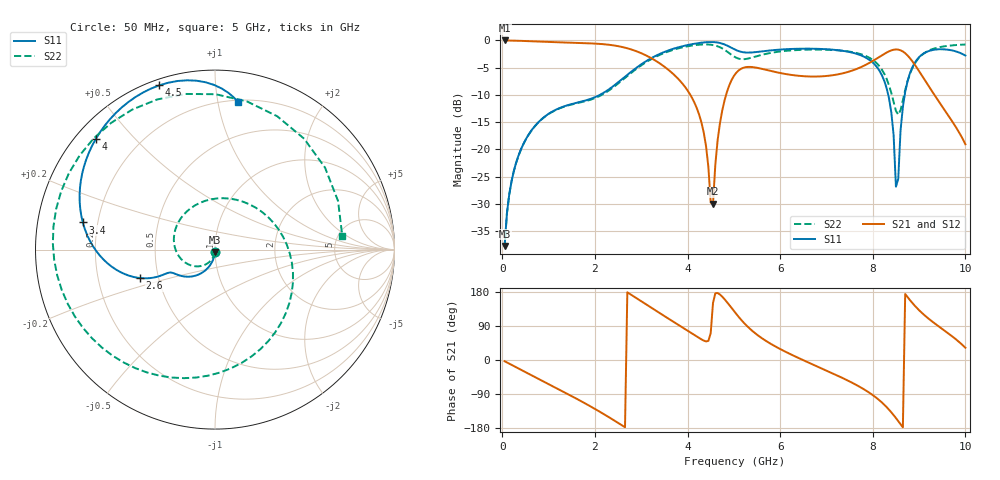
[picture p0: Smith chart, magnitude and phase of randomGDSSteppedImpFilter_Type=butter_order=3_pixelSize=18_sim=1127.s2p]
! freq	dB(S11)	phase(S11)	dB(S12)	phase(S12)
!  dB(S21)	phase(S21)	dB(S22)	phase(S22)
!S-par simulation data
#  GHz  S  DB  R 50
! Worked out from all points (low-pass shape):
!   200 points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, 50 MHz to 10 GHz, reference 50 ohm
!   highest |S21| = -0.01 dB at 50 MHz (marker M1); lowest = -30.0 dB at 4.55 GHz (marker M2)
!   |S21| within 3 dB of the highest: start of sweep to 3.162 GHz; 8.146 GHz to 8.777 GHz (631 MHz wide, 7.46 % of centre)
!   lowest |S11| = -37.7 dB at 50 MHz (marker M3), VSWR 1.03, Z = 49.9 - j1.3 ohm
!   |S11| at or under -10 dB: start of sweep to 2.106 GHz; 8.334 GHz to 8.69 GHz (356.4 MHz wide, 4.19 % of centre)
!   |S22| runs from -37.8 to -0.7 dB; largest |S21 - S12| = 0
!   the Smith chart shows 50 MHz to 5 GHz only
!   S11 on the Smith chart (normalised r, x): 50 MHz: 1.00, -0.03; 2.6 GHz: 0.39, -0.16; 3.4 GHz: 0.14, +0.10; 4 GHz: 0.06, +0.39; 4.5 GHz: 0.03, +0.72; 5 GHz: 0.21, +1.14
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0.05  -37.72 -91.6  -0.01 -3.3  -0.01 -3.3  -37.76 -93.4
0.5  -18.27 -113.8  -0.11 -32.0  -0.11 -32.0  -18.30 -131.0
1.75  -11.13 -152.6  -0.49 -111.9  -0.49 -111.9  -11.25 107.7
2.6  -7.01 -159.2  -1.23 -173.6  -1.23 -173.6  -7.22 -10.0
3.4  -2.48 168.4  -4.22 123.6  -4.22 123.6  -2.65 -103.5
4  -0.85 137.0  -9.18 77.6  -9.18 77.6  -1.08 -165.2
4.35  -0.37 117.6  -16.91 51.2  -16.91 51.2  -0.74 152.4
4.5  -0.30 108.7  -29.74 70.7  -29.74 70.7  -0.79 129.3
4.55  -0.30 105.6  -29.96 150.4  -29.96 150.4  -0.86 120.5
4.75  -0.59 93.3  -12.84 167.1  -12.84 167.1  -1.47 77.8
5  -1.58 81.2  -6.54 129.6  -6.54 129.6  -2.94 6.0
5.05  -1.78 79.7  -5.96 121.9  -5.96 121.9  -3.17 -9.5
5.35  -2.23 73.3  -4.86 82.0  -4.86 82.0  -3.24 -88.7
5.8  -1.83 58.5  -5.61 42.5  -5.61 42.5  -2.29 -153.7
6.7  -1.52 19.3  -6.63 -11.5  -6.63 -11.5  -1.68 138.8
7.55  -2.23 -24.5  -5.56 -59.7  -5.56 -59.7  -2.13 88.6
8.35  -10.59 -92.6  -2.00 -130.9  -2.00 -130.9  -8.22 37.6
8.5  -26.85 -100.8  -1.66 -153.1  -1.66 -153.1  -12.93 51.6
8.7  -9.46 28.2  -2.35 174.1  -2.35 174.1  -9.13 99.3
9.1  -2.39 -25.3  -6.96 119.9  -6.96 119.9  -2.41 72.6
9.6  -1.68 -76.0  -13.40 73.0  -13.40 73.0  -1.02 40.0
10  -2.78 -128.4  -19.06 32.4  -19.06 32.4  -0.75 20.4
